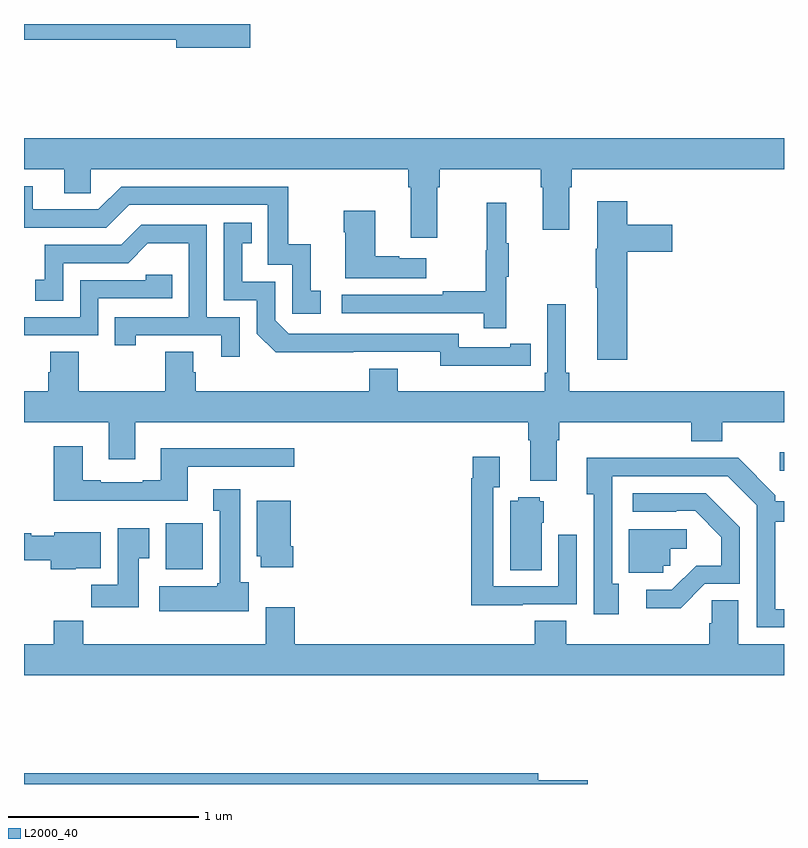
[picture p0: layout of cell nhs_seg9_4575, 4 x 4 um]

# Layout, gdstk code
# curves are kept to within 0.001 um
import gdstk
lib = gdstk.Library(unit=1e-6, precision=1e-09)
def R(c, l, rs):  # rectangles x0, y0, x1, y1
    for r in rs: c.add(gdstk.rectangle(r[:2], r[2:], *l))
def P(c, l, *ps):  # polygons
    for p in ps: c.add(gdstk.Polygon(p, *l))
L2000_40 = (2000, 40)

nhs_seg9_4575 = lib.new_cell('nhs_seg9_4575')
R(nhs_seg9_4575, L2000_40, [(373.745,1211.63,373.942,1211.872), (376.977,1212.149,377,1212.247)])
P(nhs_seg9_4575, L2000_40, [(374.191,1214.5),(373,1214.5),(373,1214.416),(373.802,1214.416),(373.802,1214.374),(374.191,1214.374)],
  [(373,1213.736),(373.211,1213.736),(373.211,1213.609),(373.35,1213.609),(373.35,1213.736),(375.023,1213.736),(375.023,1213.64),(375.035,1213.64),(375.035,1213.374),(375.175,1213.374),(375.175,1213.64),(375.188,1213.64),(375.188,1213.736),(375.719,1213.736),(375.719,1213.64),(375.731,1213.64),(375.731,1213.416),(375.871,1213.416),(375.871,1213.64),(375.884,1213.64),(375.884,1213.736),(377,1213.736),(377,1213.9),(373,1213.9)],
  [(374.563,1213.095),(374.51,1213.095),(374.51,1213.342),(374.392,1213.342),(374.392,1213.644),(373.512,1213.644),(373.392,1213.524),(373.045,1213.524),(373.045,1213.647),(373,1213.647),(373,1213.428),(373.434,1213.428),(373.554,1213.548),(374.283,1213.548),(374.283,1213.233),(374.412,1213.233),(374.412,1212.975),(374.563,1212.975)],
  [(376.175,1213.301),(376.411,1213.301),(376.411,1213.443),(376.175,1213.443),(376.175,1213.567),(376.016,1213.567),(376.016,1213.317),(376.009,1213.317),(376.009,1213.111),(376.016,1213.111),(376.016,1212.732),(376.175,1212.732)],
  [(375.539,1213.171),(375.55,1213.171),(375.55,1213.345),(375.539,1213.345),(375.539,1213.558),(375.436,1213.558),(375.436,1213.308),(375.429,1213.308),(375.429,1213.094),(375.205,1213.094),(375.205,1213.074),(374.673,1213.074),(374.673,1212.978),(375.421,1212.978),(375.421,1212.9),(375.539,1212.9)],
  [(375.118,1213.267),(374.975,1213.267),(374.975,1213.277),(374.848,1213.277),(374.848,1213.516),(374.683,1213.516),(374.683,1213.403),(374.69,1213.403),(374.69,1213.163),(375.118,1213.163)],
  [(375.56,1212.702),(375.668,1212.702),(375.668,1212.818),(375.56,1212.818),(375.56,1212.798),(375.288,1212.798),(375.288,1212.87),(374.394,1212.87),(374.322,1212.942),(374.322,1213.143),(374.149,1213.143),(374.149,1213.347),(374.198,1213.347),(374.198,1213.453),(374.052,1213.453),(374.052,1213.047),(374.226,1213.047),(374.226,1212.87),(374.324,1212.773),(375.192,1212.774),(375.192,1212.701)],
  [(374.136,1212.957),(373.962,1212.957),(373.962,1213.443),(373.616,1213.443),(373.511,1213.338),(373.108,1213.338),(373.108,1213.153),(373.059,1213.153),(373.059,1213.044),(373.206,1213.044),(373.206,1213.242),(373.548,1213.242),(373.652,1213.346),(373.866,1213.346),(373.866,1212.957),(373.477,1212.957),(373.477,1212.81),(373.588,1212.81),(373.588,1212.861),(374.039,1212.861),(374.039,1212.75),(374.136,1212.75)],
  [(373.392,1213.056),(373.781,1213.056),(373.781,1213.179),(373.641,1213.179),(373.641,1213.152),(373.296,1213.152),(373.296,1212.957),(373,1212.957),(373,1212.861),(373.392,1212.861)],
  [(375.805,1212.308),(375.818,1212.308),(375.818,1212.404),(376.511,1212.404),(376.511,1212.305),(376.676,1212.305),(376.676,1212.404),(377,1212.404),(377,1212.568),(375.869,1212.568),(375.869,1212.664),(375.85,1212.664),(375.85,1213.024),(375.753,1213.024),(375.753,1212.664),(375.74,1212.664),(375.74,1212.568),(374.968,1212.568),(374.968,1212.685),(374.816,1212.685),(374.816,1212.568),(373.904,1212.568),(373.904,1212.666),(373.891,1212.666),(373.891,1212.776),(373.744,1212.776),(373.744,1212.568),(373.287,1212.568),(373.287,1212.776),(373.139,1212.776),(373.139,1212.666),(373.127,1212.666),(373.127,1212.568),(373,1212.568),(373,1212.404),(373.445,1212.404),(373.445,1212.21),(373.585,1212.21),(373.585,1212.404),(375.653,1212.404),(375.653,1212.308),(375.665,1212.308),(375.665,1212.095),(375.805,1212.095)],
  [(373.861,1212.171),(374.422,1212.171),(374.422,1212.268),(373.721,1212.268),(373.721,1212.1),(373.625,1212.1),(373.625,1212.087),(373.405,1212.087),(373.405,1212.1),(373.309,1212.1),(373.309,1212.277),(373.157,1212.277),(373.157,1211.99),(373.861,1211.99)],
  [(375.625,1211.445),(375.909,1211.445),(375.909,1211.812),(375.813,1211.812),(375.813,1211.541),(375.471,1211.541),(375.471,1212.062),(375.505,1212.062),(375.505,1212.223),(375.363,1212.223),(375.363,1212.11),(375.355,1212.11),(375.355,1211.441),(375.625,1211.441)],
  [(377,1211.421),(376.954,1211.421),(376.954,1211.88),(377,1211.88),(377,1211.989),(376.953,1211.989),(376.953,1212.021),(376.758,1212.216),(376.427,1212.216),(376.427,1212.218),(375.962,1212.218),(375.962,1212.026),(375.999,1212.026),(375.999,1211.394),(376.129,1211.394),(376.129,1211.554),(376.095,1211.554),(376.095,1212.12),(376.704,1212.12),(376.857,1211.967),(376.857,1211.325),(377,1211.325)],
  [(374.182,1211.562),(374.137,1211.562),(374.137,1212.052),(373.997,1212.052),(373.997,1211.939),(374.03,1211.939),(374.03,1211.556),(374.017,1211.556),(374.017,1211.542),(373.713,1211.542),(373.713,1211.408),(374.182,1211.408)],
  [(376.584,1211.553),(376.767,1211.553),(376.767,1211.851),(376.588,1212.03),(376.203,1212.03),(376.203,1211.934),(376.433,1211.934),(376.433,1211.937),(376.533,1211.937),(376.67,1211.8),(376.67,1211.65),(376.537,1211.65),(376.41,1211.523),(376.275,1211.523),(376.275,1211.426),(376.456,1211.426)],
  [(375.724,1211.874),(375.736,1211.874),(375.736,1211.988),(375.714,1211.988),(375.714,1212.01),(375.6,1212.01),(375.6,1211.992),(375.56,1211.992),(375.56,1211.626),(375.724,1211.626)],
  [(374.417,1211.752),(374.404,1211.752),(374.404,1211.992),(374.225,1211.992),(374.225,1211.7),(374.246,1211.7),(374.246,1211.64),(374.417,1211.64)],
  [(373.603,1211.689),(373.66,1211.689),(373.66,1211.845),(373.493,1211.845),(373.493,1211.548),(373.354,1211.548),(373.354,1211.43),(373.603,1211.43)],
  [(376.365,1211.649),(376.401,1211.649),(376.401,1211.738),(376.489,1211.738),(376.489,1211.841),(376.184,1211.841),(376.184,1211.613),(376.365,1211.613)],
  [(373.272,1211.636),(373.405,1211.636),(373.405,1211.824),(373.158,1211.824),(373.158,1211.806),(373.038,1211.806),(373.038,1211.819),(373,1211.819),(373,1211.677),(373.142,1211.677),(373.142,1211.63),(373.272,1211.63)],
  [(377,1211.236),(376.759,1211.236),(376.759,1211.468),(376.621,1211.468),(376.621,1211.346),(376.607,1211.346),(376.607,1211.236),(375.854,1211.236),(375.854,1211.36),(375.689,1211.36),(375.689,1211.236),(374.426,1211.236),(374.426,1211.431),(374.273,1211.431),(374.273,1211.236),(373.313,1211.236),(373.313,1211.36),(373.157,1211.36),(373.157,1211.236),(373,1211.236),(373,1211.072),(377,1211.072)],
  [(375.967,1210.52),(375.706,1210.52),(375.706,1210.556),(373,1210.556),(373,1210.5),(375.967,1210.5)])

lib.write_gds('nhs_seg9_4575.gds')
